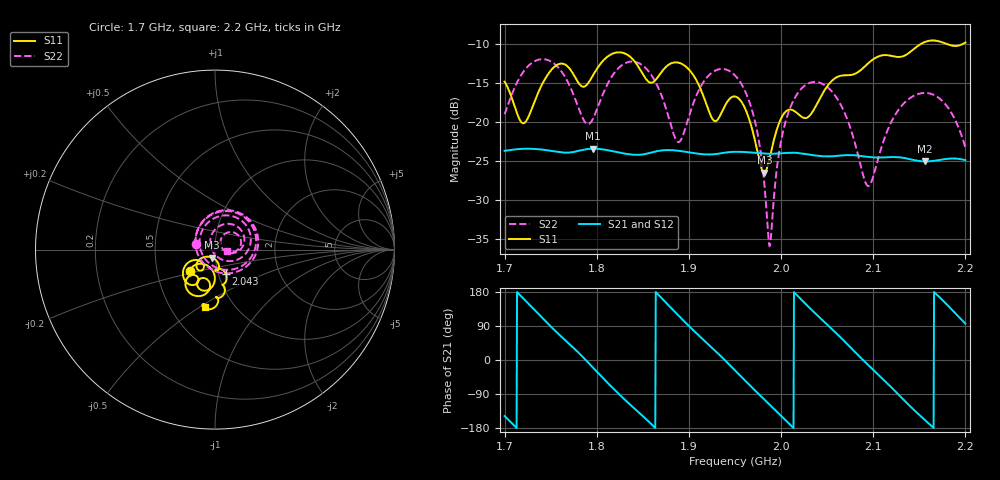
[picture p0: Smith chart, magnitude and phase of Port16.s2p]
# Hz S RI R 50
! CMT, CMT808U, 21440046, 21.4.3/4
! Date: 11/12/2025 3:23:35 PM
! Data: Format (Calibration Info)
! Freq	S11:Re/Im(F2)	S41:Re/Im(F2)	S14:Re/Im(F2)	S44:Re/Im(F2)
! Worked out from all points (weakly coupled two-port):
!   1001 points, 1.7 GHz to 2.2 GHz, reference 50 ohm
!   highest |S21| = -23.38 dB at 1.796 GHz (marker M1); lowest = -25.0 dB at 2.156 GHz (marker M2)
!   lowest |S11| = -26.5 dB at 1.982 GHz (marker M3), VSWR 1.10, Z = 48.2 - j4.32 ohm
!   |S11| at or under -10 dB: start of sweep to 2.151 GHz; 2.181 GHz to 2.196 GHz (15.24 MHz wide, 0.696 % of centre)
!   |S22| runs from -35.9 to -11.9 dB; largest |S21 - S12| = 7.6e-05
!   S11 on the Smith chart (normalised r, x): 1.7 GHz: 0.74, -0.18; 2.043 GHz: 1.08, -0.30; 2.2 GHz: 0.74, -0.53
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1.7e9  -0.1381 -0.1188  -0.0556 -0.0348  -0.0556 -0.0348  -0.1079 0.0324
1.7205e9  -0.0444 -0.088  -0.0642 0.0212  -0.0642 0.0212  0.0104 0.2113
1.742e9  -0.00311 -0.1813  -0.0207 0.0634  -0.0207 0.0634  0.2153 0.1352
1.7625e9  -0.0761 -0.2255  0.0325 0.0552  0.0326 0.0551  0.1946 -0.0757
1.7835e9  -0.064 -0.1582  0.065 0.013  0.065 0.0129  -0.0244 -0.1079
1.7955e9  -0.0277 -0.1964  0.064 -0.0222  0.064 -0.0222  -0.1044 -0.00117
1.831e9  -0.1513 -0.2305  -0.0173 -0.0604  -0.0173 -0.0604  0.1361 0.1975
1.867e9  -0.0925 -0.1746  -0.0649 0.0093  -0.0649 0.0093  0.1319 -0.1
1.889e9  -0.1657 -0.1752  -0.0292 0.0588  -0.0292 0.0587  -0.0652 -0.0364
1.9275e9  -0.0761 -0.0682  0.0558 0.0279  0.0558 0.028  0.1117 0.1815
1.95e9  -0.096 -0.1107  0.0575 -0.0297  0.0575 -0.0297  0.1973 0.0322
1.97e9  -0.0708 -0.0452  0.0152 -0.0619  0.0152 -0.0619  0.0908 -0.064
1.982e9  -0.0159 -0.0447  -0.0159 -0.0609  -0.0159 -0.061  0.0104 -0.0379
1.988e9  0.00675 -0.0601  -0.0301 -0.0551  -0.0301 -0.0552  -0.0153 -0.00536
2.0045e9  0.0159 -0.1153  -0.0588 -0.0242  -0.0587 -0.0242  -0.0103 0.0987
2.0335e9  0.0362 -0.1094  -0.0408 0.0462  -0.0408 0.0462  0.1369 0.1179
2.0435e9  0.0598 -0.1347  -0.0191 0.0576  -0.019 0.0575  0.1617 0.0745
2.068e9  0.0441 -0.1953  0.0384 0.0479  0.0384 0.0479  0.1174 -0.0154
2.094e9  0.0549 -0.2312  0.0587 -0.0125  0.0587 -0.0124  0.0364 0.0142
2.117e9  0.0103 -0.2687  0.0245 -0.0545  0.0245 -0.0545  0.0468 0.0807
2.156e9  -0.0118 -0.3275  -0.052 -0.0209  -0.0521 -0.0209  0.1404 0.0644
2.2e9  -0.053 -0.3211  -0.00575 0.0569  -0.00577 0.0569  0.0684 -0.00944
